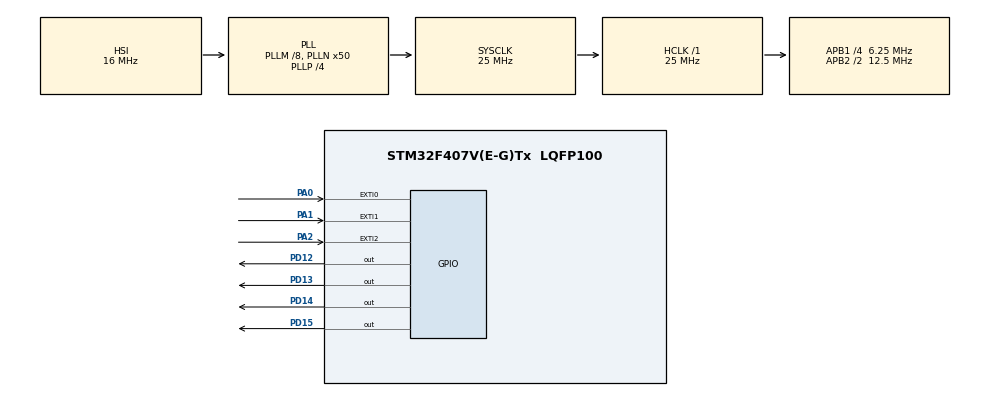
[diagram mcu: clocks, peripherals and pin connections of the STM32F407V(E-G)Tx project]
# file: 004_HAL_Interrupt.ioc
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Mcu.Family=STM32F4
Mcu.Name=STM32F407V(E-G)Tx
Mcu.Package=LQFP100
NVIC.EXTI0_IRQn=true\:0\:0\:false\:false\:true\:true\:true\:true
NVIC.EXTI1_IRQn=true\:0\:0\:false\:false\:true\:true\:true\:true
NVIC.EXTI2_IRQn=true\:0\:0\:false\:false\:true\:true\:true\:true
NVIC.PriorityGroup=NVIC_PRIORITYGROUP_0
PA0-WKUP.GPIO_ModeDefaultEXTI=GPIO_MODE_IT_RISING
PA0-WKUP.GPIO_PuPd=GPIO_PULLDOWN
PA0-WKUP.Signal=GPXTI0
PA1.GPIO_PuPd=GPIO_PULLDOWN
PA1.Signal=GPXTI1
PA2.GPIO_PuPd=GPIO_PULLDOWN
PA2.Signal=GPXTI2
PD12.GPIO_Speed=GPIO_SPEED_FREQ_VERY_HIGH
PD12.Signal=GPIO_Output
PD13.GPIO_Speed=GPIO_SPEED_FREQ_VERY_HIGH
PD13.Signal=GPIO_Output
PD14.GPIO_Speed=GPIO_SPEED_FREQ_VERY_HIGH
PD14.Signal=GPIO_Output
PD15.GPIO_Speed=GPIO_SPEED_FREQ_VERY_HIGH
PD15.Signal=GPIO_Output
PH0-OSC_IN.Mode=HSE-External-Oscillator
PH0-OSC_IN.Signal=RCC_OSC_IN
PH1-OSC_OUT.Mode=HSE-External-Oscillator
PH1-OSC_OUT.Signal=RCC_OSC_OUT
ProjectManager.HeapSize=0x200
ProjectManager.StackSize=0x400
ProjectManager.TargetToolchain=STM32CubeIDE
RCC.48MHZClocksFreq_Value=14285714.285714285
RCC.AHBFreq_Value=25000000
RCC.APB1CLKDivider=RCC_HCLK_DIV4
RCC.APB1Freq_Value=6250000
RCC.APB1TimFreq_Value=12500000
RCC.APB2CLKDivider=RCC_HCLK_DIV2
RCC.APB2Freq_Value=12500000
RCC.APB2TimFreq_Value=25000000
RCC.CortexFreq_Value=25000000
RCC.HCLKFreq_Value=25000000
RCC.HSE_VALUE=8000000
RCC.HSI_VALUE=16000000
RCC.LSE_VALUE=32768
RCC.PLLM=8
RCC.PLLN=50
RCC.PLLP=RCC_PLLP_DIV4
RCC.PLLQ=7
RCC.SYSCLKFreq_VALUE=25000000
RCC.SYSCLKSource=RCC_SYSCLKSOURCE_PLLCLK
RCC.VCOOutputFreq_Value=100000000
board=STM32F407G-DISC1

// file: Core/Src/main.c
/* USER CODE BEGIN Header */
/**
  ******************************************************************************
  * @file           : main.c
  * @brief          : Main program body
  ******************************************************************************
  * @attention
  *
  * Copyright (c) 2023 STMicroelectronics.
  * All rights reserved.
  *
  * This software is licensed under terms that can be found in the LICENSE file
  * in the root directory of this software component.
  * If no LICENSE file comes with this software, it is provided AS-IS.
  *
  ******************************************************************************
  */
/* USER CODE END Header */
#include "main.h"

/* USER CODE BEGIN Includes */
int count = 0;
int i = 0;
/* USER CODE END Includes */

void SystemClock_Config(void);
static void MX_GPIO_Init(void);

/* USER CODE BEGIN 0 */
void HAL_GPIO_EXTI_Callback(uint16_t GPIO_Pin)
{
	if(HAL_GPIO_ReadPin(GPIOA, GPIO_PIN_0))
	{

	i++;

	switch(i)
	{
		case 1:
		{
			count = 1000;
			break;
		}
		case 2:
		{
			count = 750;
			break;
		}
		case 3:
		{
			count = 500;
			break;
		}
		default:
		{
			count = 250;
			i = 0;
		}
	}
	}
	else if(HAL_GPIO_ReadPin(GPIOA, GPIO_PIN_1))
	{
		count = 2000;
	}
	else if(HAL_GPIO_ReadPin(GPIOA, GPIO_PIN_2))
	{
		count = 3000;
	}
}
/* USER CODE END 0 */

int main(void)
{

  /* MCU Configuration--------------------------------------------------------*/

  /* Reset of all peripherals, Initializes the Flash interface and the Systick. */
  HAL_Init();

  /* Configure the system clock */
  SystemClock_Config();

  /* Initialize all configured peripherals */
  MX_GPIO_Init();

  /* Infinite loop */
  while (1)
  {

    /* USER CODE BEGIN 3 */
	  HAL_GPIO_TogglePin(GPIOD, GPIO_PIN_All);
	  HAL_Delay(count);
  }
  /* USER CODE END 3 */
}

void SystemClock_Config(void)
{
  RCC_OscInitTypeDef RCC_OscInitStruct = {0};
  RCC_ClkInitTypeDef RCC_ClkInitStruct = {0};

  /** Configure the main internal regulator output voltage
  */
  __HAL_RCC_PWR_CLK_ENABLE();
  __HAL_PWR_VOLTAGESCALING_CONFIG(PWR_REGULATOR_VOLTAGE_SCALE1);

  /** Initializes the RCC Oscillators according to the specified parameters
  * in the RCC_OscInitTypeDef structure.
  */
  RCC_OscInitStruct.OscillatorType = RCC_OSCILLATORTYPE_HSI;
  RCC_OscInitStruct.HSIState = RCC_HSI_ON;
  RCC_OscInitStruct.HSICalibrationValue = RCC_HSICALIBRATION_DEFAULT;
  RCC_OscInitStruct.PLL.PLLState = RCC_PLL_ON;
  RCC_OscInitStruct.PLL.PLLSource = RCC_PLLSOURCE_HSI;
  RCC_OscInitStruct.PLL.PLLM = 8;
  RCC_OscInitStruct.PLL.PLLN = 50;
  RCC_OscInitStruct.PLL.PLLP = RCC_PLLP_DIV4;
  RCC_OscInitStruct.PLL.PLLQ = 7;
  if (HAL_RCC_OscConfig(&RCC_OscInitStruct) != HAL_OK)
  {
    Error_Handler();
  }

  /** Initializes the CPU, AHB and APB buses clocks
  */
  RCC_ClkInitStruct.ClockType = RCC_CLOCKTYPE_HCLK|RCC_CLOCKTYPE_SYSCLK
                              |RCC_CLOCKTYPE_PCLK1|RCC_CLOCKTYPE_PCLK2;
  RCC_ClkInitStruct.SYSCLKSource = RCC_SYSCLKSOURCE_PLLCLK;
  RCC_ClkInitStruct.AHBCLKDivider = RCC_SYSCLK_DIV1;
  RCC_ClkInitStruct.APB1CLKDivider = RCC_HCLK_DIV4;
  RCC_ClkInitStruct.APB2CLKDivider = RCC_HCLK_DIV2;

  if (HAL_RCC_ClockConfig(&RCC_ClkInitStruct, FLASH_LATENCY_0) != HAL_OK)
  {
    Error_Handler();
  }
}

static void MX_GPIO_Init(void)
{
  GPIO_InitTypeDef GPIO_InitStruct = {0};

  /* GPIO Ports Clock Enable */
  __HAL_RCC_GPIOH_CLK_ENABLE();
  __HAL_RCC_GPIOA_CLK_ENABLE();
  __HAL_RCC_GPIOD_CLK_ENABLE();

  /*Configure GPIO pin Output Level */
  HAL_GPIO_WritePin(GPIOD, GPIO_PIN_12|GPIO_PIN_13|GPIO_PIN_14|GPIO_PIN_15, GPIO_PIN_RESET);

  /*Configure GPIO pins : PA0 PA1 PA2 */
  GPIO_InitStruct.Pin = GPIO_PIN_0|GPIO_PIN_1|GPIO_PIN_2;
  GPIO_InitStruct.Mode = GPIO_MODE_IT_RISING;
  GPIO_InitStruct.Pull = GPIO_PULLDOWN;
  HAL_GPIO_Init(GPIOA, &GPIO_InitStruct);

  /*Configure GPIO pins : PD12 PD13 PD14 PD15 */
  GPIO_InitStruct.Pin = GPIO_PIN_12|GPIO_PIN_13|GPIO_PIN_14|GPIO_PIN_15;
  GPIO_InitStruct.Mode = GPIO_MODE_OUTPUT_PP;
  GPIO_InitStruct.Pull = GPIO_NOPULL;
  GPIO_InitStruct.Speed = GPIO_SPEED_FREQ_VERY_HIGH;
  HAL_GPIO_Init(GPIOD, &GPIO_InitStruct);

  /* EXTI interrupt init*/
  HAL_NVIC_SetPriority(EXTI0_IRQn, 0, 0);
  HAL_NVIC_EnableIRQ(EXTI0_IRQn);

  HAL_NVIC_SetPriority(EXTI1_IRQn, 0, 0);
  HAL_NVIC_EnableIRQ(EXTI1_IRQn);

  HAL_NVIC_SetPriority(EXTI2_IRQn, 0, 0);
  HAL_NVIC_EnableIRQ(EXTI2_IRQn);

}

void Error_Handler(void)
{
  __disable_irq();
  while (1)
  {
  }
}
